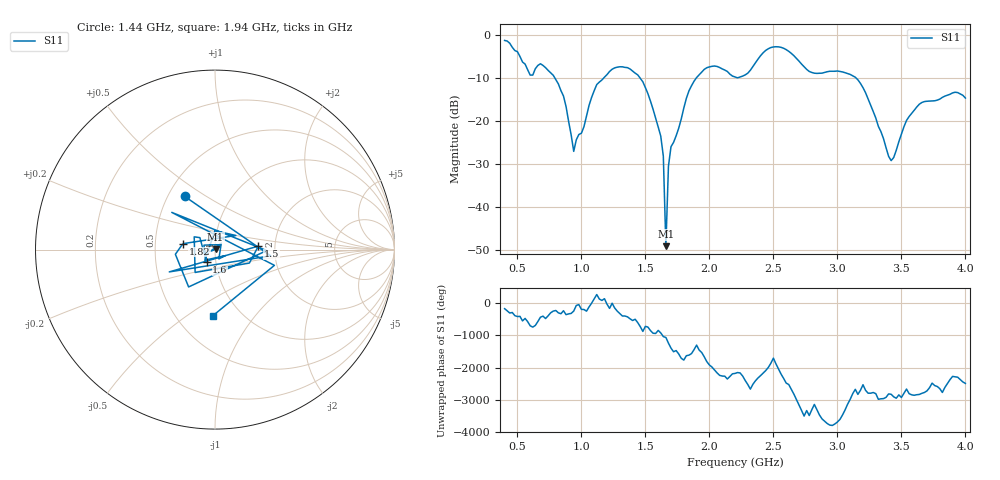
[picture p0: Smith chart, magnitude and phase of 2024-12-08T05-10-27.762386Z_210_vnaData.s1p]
!Created with skrf (http://scikit-rf.org).
# Hz S RI R 50.0
!freq ReS11 ImS11
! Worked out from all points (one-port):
!   181 points, 400 MHz to 4 GHz, reference 50 ohm
!   lowest |S11| = -49.1 dB at 1.66 GHz (marker M1), VSWR 1.01, Z = 50.3 + j0.104 ohm
!   |S11| at or under -10 dB: 791.5 MHz to 1.176 GHz (384.9 MHz wide, 39.1 % of centre); 1.457 GHz to 1.899 GHz (442.1 MHz wide, 26.3 % of centre); 3.144 GHz to end of sweep (the widest 3 of 4)
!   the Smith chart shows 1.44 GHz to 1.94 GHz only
!   S11 on the Smith chart (normalised r, x): 1.44 GHz: 0.61, +0.41; 1.5 GHz: 1.64, +0.07; 1.6 GHz: 0.90, -0.13; 1.82 GHz: 0.69, +0.05; 1.94 GHz: 0.75, -0.64
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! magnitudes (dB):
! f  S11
! 400 MHz  -1.4
! 600 MHz  -9.4
! 720 MHz  -7.7
! 860 MHz  -14.2
! 940 MHz  -27.1
! 1.12 GHz  -11.6
! 1.3 GHz  -7.5
! 1.44 GHz  -9.3
! 1.5 GHz  -12.3
! 1.6 GHz  -21.4
! 1.64 GHz  -28.2
! 1.66 GHz  -49.1
! 1.68 GHz  -30.6
! 1.7 GHz  -26.0
! 1.76 GHz  -21.7
! 1.82 GHz  -14.8
! 1.94 GHz  -8.7
! 2.04 GHz  -7.3
! 2.2 GHz  -9.8
! 2.48 GHz  -3.0
! 2.66 GHz  -4.9
! 2.8 GHz  -8.8
! 3.1 GHz  -9.2
! 3.22 GHz  -13.5
! 3.42 GHz  -29.2
! 3.56 GHz  -19.0
! 3.68 GHz  -15.5
! 4 GHz  -14.7
